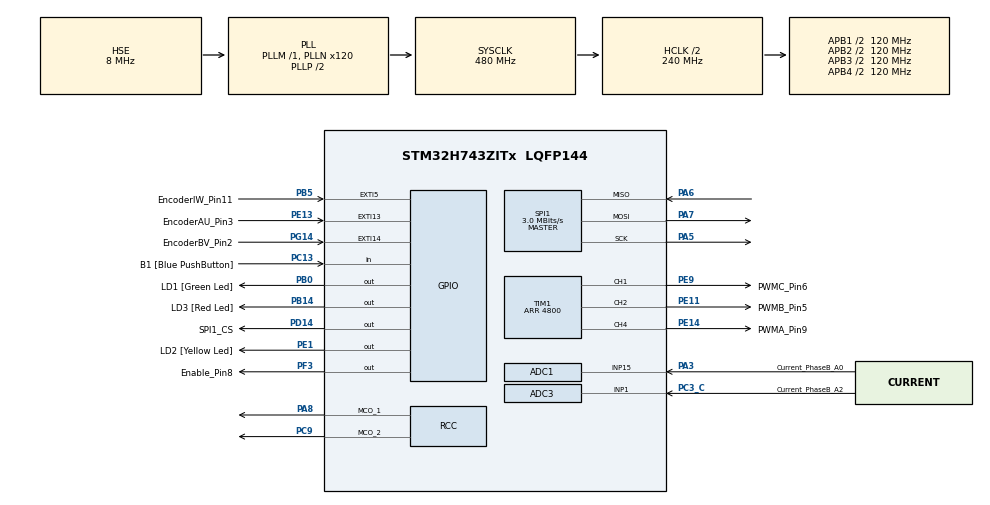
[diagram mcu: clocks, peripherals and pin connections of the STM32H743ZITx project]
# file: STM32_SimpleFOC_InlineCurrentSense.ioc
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ADC1.Channel-0\#ChannelRegularConversion=ADC_CHANNEL_15
ADC1.ContinuousConvMode=ENABLE
ADC1.ExternalTrigConv=ADC_SOFTWARE_START
ADC1.NbrOfConversion=1
ADC1.NbrOfConversionFlag=1
ADC1.OffsetNumber-0\#ChannelRegularConversion=ADC_OFFSET_NONE
ADC1.OffsetSignedSaturation-0\#ChannelRegularConversion=DISABLE
ADC1.Overrun=ADC_OVR_DATA_OVERWRITTEN
ADC1.Rank-0\#ChannelRegularConversion=1
ADC1.SamplingTime-0\#ChannelRegularConversion=ADC_SAMPLETIME_16CYCLES_5
ADC1.master=1
ADC3.Channel-0\#ChannelRegularConversion=ADC_CHANNEL_1
ADC3.ContinuousConvMode=ENABLE
ADC3.ExternalTrigConv=ADC_SOFTWARE_START
ADC3.NbrOfConversion=1
ADC3.NbrOfConversionFlag=1
ADC3.OffsetNumber-0\#ChannelRegularConversion=ADC_OFFSET_NONE
ADC3.OffsetSignedSaturation-0\#ChannelRegularConversion=DISABLE
ADC3.Overrun=ADC_OVR_DATA_OVERWRITTEN
ADC3.Rank-0\#ChannelRegularConversion=1
ADC3.SamplingTime-0\#ChannelRegularConversion=ADC_SAMPLETIME_16CYCLES_5
Mcu.Family=STM32H7
Mcu.Name=STM32H743ZITx
Mcu.Package=LQFP144
NVIC.EXTI15_10_IRQn=true\:0\:0\:false\:false\:true\:true\:true
NVIC.EXTI9_5_IRQn=true\:0\:0\:false\:false\:true\:true\:true
NVIC.PriorityGroup=NVIC_PRIORITYGROUP_4
NVIC.SPI1_IRQn=true\:0\:0\:false\:false\:true\:true\:true
NVIC.TIM1_UP_IRQn=true\:0\:0\:false\:false\:true\:true\:true
NVIC.TIM2_IRQn=true\:0\:0\:false\:false\:true\:true\:true
PA3.GPIO_Label=Current_PhaseB_A0
PA3.Signal=ADCx_INP15
PA5.GPIO_PuPd=GPIO_PULLDOWN
PA5.GPIO_Speed=GPIO_SPEED_FREQ_VERY_HIGH
PA5.Mode=Full_Duplex_Master
PA5.Signal=SPI1_SCK
PA6.GPIO_PuPd=GPIO_PULLUP
PA6.GPIO_Speed=GPIO_SPEED_FREQ_VERY_HIGH
PA6.Mode=Full_Duplex_Master
PA6.Signal=SPI1_MISO
PA7.GPIO_PuPd=GPIO_PULLUP
PA7.GPIO_Speed=GPIO_SPEED_FREQ_VERY_HIGH
PA7.Mode=Full_Duplex_Master
PA7.Signal=SPI1_MOSI
PA8.GPIO_Speed=GPIO_SPEED_FREQ_VERY_HIGH
PA8.Mode=Clock-out-1
PA8.Signal=RCC_MCO_1
PB0.GPIO_Label=LD1 [Green Led]
PB0.GPIO_Speed=GPIO_SPEED_FREQ_HIGH
PB0.Signal=GPIO_Output
PB14.GPIO_Label=LD3 [Red Led]
PB14.Signal=GPIO_Output
PB5.GPIO_Label=EncoderIW_Pin11
PB5.GPIO_ModeDefaultEXTI=GPIO_MODE_IT_RISING_FALLING
PB5.Signal=GPXTI5
PC13.GPIO_Label=B1 [Blue PushButton]
PC13.Signal=GPIO_Input
PC14-OSC32_IN\ (OSC32_IN).Mode=LSE-External-Clock-Source
PC14-OSC32_IN\ (OSC32_IN).Signal=RCC_OSC32_IN
PC15-OSC32_OUT\ (OSC32_OUT).Signal=RCC_OSC32_OUT
PC3_C.GPIO_Label=Current_PhaseB_A2
PC3_C.Mode=IN1-Single-Ended
PC3_C.Signal=ADC3_INP1
PC9.GPIO_Speed=GPIO_SPEED_FREQ_VERY_HIGH
PC9.Mode=Clock-out-2
PC9.Signal=RCC_MCO_2
PD14.GPIO_Label=SPI1_CS
PD14.GPIO_Speed=GPIO_SPEED_FREQ_VERY_HIGH
PD14.PinState=GPIO_PIN_SET
PD14.Signal=GPIO_Output
PE1.GPIO_Label=LD2 [Yellow Led]
PE1.Signal=GPIO_Output
PE11.GPIO_Label=PWMB_Pin5
PE11.Signal=S_TIM1_CH2
PE13.GPIO_Label=EncoderAU_Pin3
PE13.GPIO_ModeDefaultEXTI=GPIO_MODE_IT_RISING_FALLING
PE13.Signal=GPXTI13
PE14.GPIO_Label=PWMA_Pin9
PE14.Signal=S_TIM1_CH4
PE9.GPIO_Label=PWMC_Pin6
PE9.GPIO_Speed=GPIO_SPEED_FREQ_LOW
PE9.Signal=S_TIM1_CH1
PF3.GPIO_Label=Enable_Pin8
PF3.Signal=GPIO_Output
PG14.GPIO_Label=EncoderBV_Pin2
PG14.GPIO_ModeDefaultEXTI=GPIO_MODE_IT_RISING_FALLING
PG14.Signal=GPXTI14
PH0-OSC_IN\ (PH0).Mode=HSE-External-Clock-Source
PH0-OSC_IN\ (PH0).Signal=RCC_OSC_IN
ProjectManager.HeapSize=0x200
ProjectManager.StackSize=0x400
ProjectManager.TargetToolchain=STM32CubeIDE
RCC.ADCFreq_Value=150000000
RCC.APB1Freq_Value=120000000
RCC.APB2Freq_Value=120000000
RCC.APB3Freq_Value=120000000
RCC.APB4Freq_Value=120000000
RCC.CortexFreq_Value=480000000
RCC.D1PPRE=RCC_APB3_DIV2
RCC.D2PPRE1=RCC_APB1_DIV2
RCC.D2PPRE2=RCC_APB2_DIV2
RCC.D3PPRE=RCC_APB4_DIV2
RCC.DIVM1=1
RCC.DIVM2=1
RCC.DIVN1=120
RCC.DIVN2=18
RCC.DIVP2=1
RCC.DIVQ1=20
RCC.HCLKFreq_Value=240000000
RCC.HPRE=RCC_HCLK_DIV2
RCC.HSE_VALUE=8000000
RCC.PLL2FRACN=6144
RCC.PLL3FRACN=0
RCC.PLLFRACN=0
RCC.PLLSourceVirtual=RCC_PLLSOURCE_HSE
RCC.RCC_MCO1Source=RCC_MCO1SOURCE_HSE
RCC.RCC_MCODiv2=RCC_MCODIV_15
RCC.SYSCLKFreq_VALUE=480000000
RCC.SYSCLKSource=RCC_SYSCLKSOURCE_PLLCLK
RCC.USBFreq_Value=48000000
SH.ADCx_INP15.0=ADC1_INP15,IN15-Single-Ended
SH.S_TIM1_CH1.0=TIM1_CH1,PWM Generation1 CH1
SH.S_TIM1_CH2.0=TIM1_CH2,PWM Generation2 CH2
SH.S_TIM1_CH4.0=TIM1_CH4,PWM Generation4 CH4
SPI1.BaudRatePrescaler=SPI_BAUDRATEPRESCALER_16
SPI1.CLKPhase=SPI_PHASE_1EDGE
SPI1.CLKPolarity=SPI_POLARITY_LOW
SPI1.CalculateBaudRate=3.0 MBits/s
SPI1.DataSize=SPI_DATASIZE_16BIT
SPI1.Direction=SPI_DIRECTION_2LINES
SPI1.Mode=SPI_MODE_MASTER
SPI1.NSSPMode=SPI_NSS_PULSE_DISABLE
SPI1.RxCRCInitializationPattern=SPI_CRC_INITIALIZATION_ALL_ONE_PATTERN
SPI1.TxCRCInitializationPattern=SPI_CRC_INITIALIZATION_ALL_ONE_PATTERN
SPI1.VirtualType=VM_MASTER
TIM1.Channel-PWM\ Generation1\ CH1=TIM_CHANNEL_1
TIM1.Channel-PWM\ Generation2\ CH2=TIM_CHANNEL_2
TIM1.Channel-PWM\ Generation4\ CH4=TIM_CHANNEL_4
TIM1.CounterMode=TIM_COUNTERMODE_CENTERALIGNED3
TIM1.OCMode_PWM-PWM\ Generation1\ CH1=TIM_OCMODE_PWM2
TIM1.OCMode_PWM-PWM\ Generation2\ CH2=TIM_OCMODE_PWM2
TIM1.OCMode_PWM-PWM\ Generation4\ CH4=TIM_OCMODE_PWM2
TIM1.Period=4800
TIM1.TIM_MasterOutputTrigger=TIM_TRGO_RESET
TIM2.AutoReloadPreload=TIM_AUTORELOAD_PRELOAD_DISABLE
TIM2.ClockDivision=TIM_CLOCKDIVISION_DIV1
TIM2.Period=\ 4294967295
TIM2.Prescaler=120-1
VP_TIM2_VS_ClockSourceINT.Mode=Internal
board=NUCLEO-H743ZI2

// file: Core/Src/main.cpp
/* USER CODE BEGIN Header */
/**
  ******************************************************************************
  * @file           : main.c
  * @brief          : Main program body
  ******************************************************************************
  * @attention
  *
  * <h2><center>&copy; Copyright (c) 2021 STMicroelectronics.
  * All rights reserved.</center></h2>
  *
  * This software component is licensed by ST under BSD 3-Clause license,
  * the "License"; You may not use this file except in compliance with the
  * License. You may obtain a copy of the License at:
  *                        opensource.org/licenses/BSD-3-Clause
  *
  ******************************************************************************
  */
/* USER CODE END Header */
#include "main.h"
#include "adc.h"
#include "tim.h"
#include "gpio.h"
#include "spi.h"

/* USER CODE BEGIN Includes */
#include "SimpleFOC.hpp"
/* USER CODE END Includes */

/* USER CODE BEGIN PD */
#define ROLE_MASTER  // when defined MASTER clock settings are programmed, else, SLAVE clock settings are programmed
#define SENSOR_MAGNETIC //position sensor is MAGNETIC (AS5048A)
//#define SENSOR_ENCODER //position sensor is ENCODER
/* USER CODE END PD */

/* USER CODE BEGIN PM */
#define TEST_SPI 0 //SPI cable super flaky - need to run this test sometimes
/* USER CODE END PM */

/* USER CODE BEGIN PV */
BLDCMotor motor = BLDCMotor(7);//,0.039);//,0.039); //(pp,phase_resistance)
BLDCDriver3PWM driver = BLDCDriver3PWM(5, 9, 6, 8);
#ifdef SENSOR_ENCODER
	Encoder sensor = Encoder(2, 3, 2048, 11); //these pins, and values are actually hardcoded
#else //SENSOR_MAGNETIC
	//Magnetic sensor class supports only AS5048A at the moment: https://media.digikey.com/pdf/Data%20Sheets/Austriamicrosystems%20PDFs/AS5048A,B.pdf
	MagneticSensorSPI sensor = MagneticSensorSPI(); //CS = D10 (PD14 on STM32H743), resolution bits = 14, angle register address = 0x3fff); //these pins are all hardcoded
#endif

InlineCurrentSense current_sense = InlineCurrentSense(0.01, 50.0, phaseA, phaseB); //pins are hardcoded
/* USER CODE END PV */

void SystemClock_Config(void);
/* USER CODE BEGIN PFP */
PhaseCurrent_s currents;
float current_magnitude = 0;
/* USER CODE END PFP */

/* USER CODE BEGIN 0 */
// function setting the pwm duty cycle to the hardware
// - BLDC motor - 3PWM setting
//- hardware specific
void _writeDutyCycle3PWM(float dc_a,  float dc_b, float dc_c, int pinA, int pinB, int pinC){
	int pwm_range = htim1.Instance->ARR;
	htim1.Instance->CCR1 = (int)(dc_a * pwm_range);
	htim1.Instance->CCR2 = (int)(dc_c * pwm_range);
	htim1.Instance->CCR4 = (int)(dc_b * pwm_range);
}

// function reading an ADC value and returning the read voltage
float _readADCVoltage_pinA(void){
	int raw_reading = HAL_ADC_GetValue(&hadc1); //assigned to a variable prior to return for debugging purposes
	return raw_reading;
}

float _readADCVoltage_pinB(void) {
	int raw_reading = HAL_ADC_GetValue(&hadc3); //assigned to a variable prior to return for debugging purposes
	return raw_reading;
}

int _calibrate_phaseA(void) {
	int sum = 0;
	//calibration process, the calculated calibration value (offset) should be automatically applied
	//during subsequent conversions
	HAL_ADCEx_Calibration_Start(&hadc1, ADC_CALIB_OFFSET_LINEARITY, ADC_SINGLE_ENDED);
	for (int i = 0; i < 100; i++) {
		sum += HAL_ADC_GetValue(&hadc1);
	}
	return (float)(sum/100.0);
}

int _calibrate_phaseB(void) {
	int sum = 0;
	//calibration process, the calculated calibration value (offset) should be automatically applied
	//during subsequent conversions
	HAL_ADCEx_Calibration_Start(&hadc3, ADC_CALIB_OFFSET_LINEARITY, ADC_SINGLE_ENDED);
	for (int i = 0; i < 100; i++) {
		sum += HAL_ADC_GetValue(&hadc3);
	}
	return (float)(sum/100);
}

uint16_t _SPI_read(uint16_t read_command) {
	uint8_t register_value[2] = {0x00, 0x00};
	HAL_GPIO_WritePin(SPI1_CS_GPIO_Port, SPI1_CS_Pin, GPIO_PIN_RESET);
	HAL_SPI_TransmitReceive(&hspi1, (uint8_t*)&read_command, &register_value[0], 1, HAL_MAX_DELAY);
	HAL_GPIO_WritePin(SPI1_CS_GPIO_Port, SPI1_CS_Pin, GPIO_PIN_SET);
	return ((register_value[1] << 8) | register_value[0]);
}

/* USER CODE END 0 */

int loopIdx = 100000;
float time_loop;
bool initialisation_complete = false;
bool run_foc_loop = false;
int inc_mov_loop = 0;

float copy_target = 0;
float lk_shaft_velocity;
float lk_shaft_angle;
float lk_current_sp;

float copy_PID_Iq_P = 0.5;
float copy_PID_Iq_I = 0.1;
float copy_PID_Iq_D = 0.01;
float copy_PID_Iq_ramp = 50;
float copy_PID_Iq_limit = 2;
float copy_PID_Iq_Tf = 0.01;

float copy_PID_Id_P = 0.5;
float copy_PID_Id_I = 0.1;
float copy_PID_Id_D = 0.01;
float copy_PID_Id_ramp = 50;
float copy_PID_Id_limit = 1;
float copy_PID_Id_Tf = 0.01;

float copy_PID_velocity_P = 0;// 0.1;//0.05;
float copy_PID_velocity_I = 0;//0.5;//0.5;
float copy_PID_velocity_D = 0;// 0.001;//0;
float copy_PID_velocity_ramp = 0;// 5000;//1000;
float copy_PID_velocity_limit = 0;// 24;//2;
float copy_PID_velocity_Tf = 0;// 0;//0.01;//0;

float copy_PID_angle_P = 0;// 10;//0.5;
float copy_PID_angle_I = 0;// 1;//0;
float copy_PID_angle_D = 0;// 0;//0;
float copy_PID_angle_ramp = 0;// 100;//1e9;
float copy_PID_angle_limit = 0;// 10;//20;
float copy_PID_angle_Tf = 0;// 0;//0.001;

int main(void)
{

  /* MCU Configuration--------------------------------------------------------*/

  /* Reset of all peripherals, Initializes the Flash interface and the Systick. */
    HAL_Init();

  /* Configure the system clock */
  SystemClock_Config();

  /* Initialize all configured peripherals */
  MX_GPIO_Init();
  MX_ADC1_Init();
  MX_ADC3_Init();
  MX_TIM1_Init();
  MX_TIM2_Init();
  MX_SPI1_Init(); //maybe need to move this call into the magneticsensorSPI class - init

  /* USER CODE BEGIN 2 */
  HAL_TIM_Base_Start_IT(&htim1); //25kHz timer - need interrupt to trigger FOC loop at this frequency
  HAL_TIM_Base_Start_IT(&htim2); //timer set to 1MHz used by _micros(), will overflow every 4295 seconds - should do something about this overflow... TODO

  HAL_TIM_PWM_Start(&htim1, TIM_CHANNEL_1);
  HAL_TIM_PWM_Start(&htim1, TIM_CHANNEL_2);
  HAL_TIM_PWM_Start(&htim1, TIM_CHANNEL_4);

  HAL_ADC_Start(&hadc1); //ADC set to run in continuous conversion mode - hence we start conversions here
  HAL_ADC_Start(&hadc3); //ADC set to run in continuous conversion mode - hence we start conversions here

//  //closed loop velocity example:
//#if SENSOR == ENCODER
//  encoder.init();
//  //link the motor to the sensor:
//  motor.linkSensor(&encoder);
//#elif SENSOR == MAGNETIC
//  sensor.init();
//  motor.linkSensor(&sensor);
//#endif
sensor.init();

motor.linkSensor(&sensor);
 //driver config:
 driver.voltage_power_supply = 10;//24;
 driver.init();
 //link the motor and the driver:
 motor.linkDriver(&driver);
 //aligning the voltage [V]
 motor.voltage_sensor_align = 2;
 //index search velocity [rad/s]
 motor.velocity_index_search = 0.5; //needs to be low otherwise index search fails. Tested to 10rad/s - doesn't fail anymore.
 //set motion control loop to be used
 motor.foc_modulation = FOCModulationType::SpaceVectorPWM;//SpaceVectorPWM;//SinePWM;
 motor.controller = MotionControlType::velocity;//angle;//velocity;//torque;
 motor.torque_controller = TorqueControlType::foc_current;//voltage;//foc_current;//dc_current;//voltage;
//  motor.controller = MotionControlType::torque;

 //current sense init and linking
 current_sense.gain_b *=-1;
 // skip alignment
 current_sense.skip_align = true; //true;

 current_sense.init();
 motor.linkCurrentSense(&current_sense);

 motor.anti_cogging = false;

 //initialise motor
 motor.init();
 //align sensor and start FOC
 motor.initFOC();

 _delay(100);

 //controller config:
 //see default parameters in defaults.h
 motor.PID_current_q.P = copy_PID_Iq_P;
 motor.PID_current_q.I = copy_PID_Iq_I;
 motor.PID_current_q.D = copy_PID_Iq_D;
 motor.PID_current_q.output_ramp = copy_PID_Iq_ramp;
 motor.PID_current_q.limit = copy_PID_Iq_limit;
 motor.LPF_current_q.Tf = copy_PID_Iq_Tf;

 motor.PID_current_d.P = copy_PID_Id_P;
 motor.PID_current_d.I = copy_PID_Id_I;
 motor.PID_current_d.D = copy_PID_Id_D;
 motor.PID_current_d.output_ramp = copy_PID_Id_ramp;
 motor.PID_current_d.limit = copy_PID_Id_limit;
 motor.LPF_current_d.Tf = copy_PID_Id_Tf;

 motor.PID_velocity.P = copy_PID_velocity_P;
 motor.PID_velocity.I = copy_PID_velocity_I;
 motor.PID_velocity.D = copy_PID_velocity_D;
 motor.PID_velocity.output_ramp = copy_PID_velocity_ramp;
 motor.PID_velocity.limit = copy_PID_velocity_limit;
 motor.LPF_velocity.Tf = copy_PID_velocity_Tf;

 motor.P_angle.P = copy_PID_angle_P;
 motor.P_angle.I = copy_PID_angle_I;
 motor.P_angle.D = copy_PID_angle_D;
 motor.P_angle.output_ramp = copy_PID_angle_ramp;
 motor.P_angle.limit = copy_PID_angle_limit;
 motor.LPF_angle.Tf = copy_PID_angle_Tf;
  /* USER CODE END 2 */

  /* Infinite loop */
  /* USER CODE BEGIN WHILE */
 motor.target = 0;//2;//0.6;//3;//0.5;// 0.25;
// motor.controller = MotionControlType::velocity;//angle;//velocity;//torque;
// float targets[] = {0, 1, 2, 3, 4, 5, 6, 5, 4, 3, 2, 1};
 //float targets[] = {2.269, 0.8727}; //angle mode
// float targets[] = {4, 8}; //velocity mode
// int i = 0;
 int idx = 0;

 initialisation_complete = true;

if (TEST_SPI) { //connections are currently super flaky - need to run this sometimes
	uint8_t SPI_Read[4] = {0xFF,0xFF,0x00,0x00};
	uint16_t buf;
	float buf_angle = 0;
	while (1) {
		_delay(1);
	    HAL_GPIO_WritePin(SPI1_CS_GPIO_Port, SPI1_CS_Pin, GPIO_PIN_RESET);
	    HAL_SPI_TransmitReceive(&hspi1, &SPI_Read[0], &SPI_Read[2], 1, HAL_MAX_DELAY);
	    HAL_GPIO_WritePin(SPI1_CS_GPIO_Port, SPI1_CS_Pin, GPIO_PIN_SET);
	    buf = ((SPI_Read[3]<<8)|SPI_Read[2])&AS5048A_RESULT_MASK;
	    buf_angle = ((float)buf)/AS5048A_CPR * 2 * _PI;
	    buf_angle = buf_angle; //dummy assignment to avoid -Werror about unused variable
	}
}

 while (1)
 {
//	 //read TIM2->CH1 values:
//	 unsigned int test = TIM2->CNT;
//	    /* USER CODE END WHILE */
//
//	    /* USER CODE BEGIN 3 */
//	    currents = current_sense.getPhaseCurrents();
//	    current_magnitude = current_sense.getDCCurrent();
//
//	  //angular set point example for PID tuning
//		GPIOB -> ODR |= GPIO_PIN_0;
//	 time_prev = _micros();

	 lk_shaft_velocity = motor.shaft_velocity;
	 lk_shaft_angle = motor.shaft_angle;
	 lk_current_sp = motor.current_sp;

//	 motor.PID_current_q.P = copy_PID_Iq_P;
//	 motor.PID_current_q.I = copy_PID_Iq_I;
//	 motor.PID_current_q.D = copy_PID_Iq_D;
//	 motor.PID_current_q.output_ramp = copy_PID_Iq_ramp;
//	 motor.PID_current_q.limit = copy_PID_Iq_limit;
//	 motor.LPF_current_q.Tf = copy_PID_Iq_Tf;
//
//	 motor.PID_current_d.P = copy_PID_Id_P;
//	 motor.PID_current_d.I = copy_PID_Id_I;
//	 motor.PID_current_d.D = copy_PID_Id_D;
//	 motor.PID_current_d.output_ramp = copy_PID_Id_ramp;
//	 motor.PID_current_d.limit = copy_PID_Id_limit;
//	 motor.LPF_current_d.Tf = copy_PID_Id_Tf;
//
//	 motor.PID_velocity.P = copy_PID_velocity_P;
//	 motor.PID_velocity.I = copy_PID_velocity_I;
//	 motor.PID_velocity.D = copy_PID_velocity_D;
//	 motor.PID_velocity.output_ramp = copy_PID_velocity_ramp;
//	 motor.PID_velocity.limit = copy_PID_velocity_limit;
//	 motor.LPF_velocity.Tf = copy_PID_velocity_Tf;
//
//	 motor.P_angle.P = copy_PID_angle_P;
//	 motor.P_angle.I = copy_PID_angle_I;
//	 motor.P_angle.D = copy_PID_angle_D;
//	 motor.P_angle.output_ramp = copy_PID_angle_ramp;
//	 motor.P_angle.limit = copy_PID_angle_limit;
//	 motor.LPF_angle.Tf = copy_PID_angle_Tf;

	 if (run_foc_loop) {
	  motor.loopFOC();
	  //HAL_GPIO_WritePin(LD1_GPIO_Port, LD1_Pin, GPIO_PIN_RESET);
	  run_foc_loop = false;
	}
//	  time_loop = _micros() - time_prev;
//		GPIOB -> ODR &= ~GPIO_PIN_0;

//	  if (idx % 1000 == 0) { //velocity mode set to 1000
//		  motor.move();
//		// idx = 1;
//	  }

	  if (inc_mov_loop >= 2000) {
		  motor.move();
		  inc_mov_loop = 0;
		 // HAL_GPIO_TogglePin(LD1_GPIO_Port, LD1_Pin);
		  //HAL_GPIO_WritePin(LD1_GPIO_Port, LD1_Pin, GPIO_PIN_RESET);
	  }
	// motor.target = copy_target;

//	  if (idx % loopIdx == 0) {
//		 // motor.target += targets[i];
//		 // motor.copy_target += targets[i];
//		  motor.target += targets[i]; //when in 'angle' mode
//		  //motor.target = targets[i]; //when in 'velocity' mode
//		  copy_target = motor.target;
//
//		  i++;
//	  }
//	  if (i >= 2) {
//		  i = 0;
//	  }
	  idx++;
 }

 /* USER CODE END 3 */
}

#ifdef ROLE_MASTER
/*
  * MASTER SystemClock_Config
  */
void SystemClock_Config(void)
{
  RCC_OscInitTypeDef RCC_OscInitStruct = {0};
  RCC_ClkInitTypeDef RCC_ClkInitStruct = {0};
  RCC_PeriphCLKInitTypeDef PeriphClkInitStruct = {0};

  /** Supply configuration update enable
  */
  HAL_PWREx_ConfigSupply(PWR_LDO_SUPPLY);
  /** Configure the main internal regulator output voltage
  */
  __HAL_PWR_VOLTAGESCALING_CONFIG(PWR_REGULATOR_VOLTAGE_SCALE0);

  while(!__HAL_PWR_GET_FLAG(PWR_FLAG_VOSRDY)) {}
  /** Macro to configure the PLL clock source
  */
  __HAL_RCC_PLL_PLLSOURCE_CONFIG(RCC_PLLSOURCE_HSE);
  /** Initializes the RCC Oscillators according to the specified parameters
  * in the RCC_OscInitTypeDef structure.
  */
  RCC_OscInitStruct.OscillatorType = RCC_OSCILLATORTYPE_HSE;
  RCC_OscInitStruct.HSEState = RCC_HSE_BYPASS;
  RCC_OscInitStruct.PLL.PLLState = RCC_PLL_ON;
  RCC_OscInitStruct.PLL.PLLSource = RCC_PLLSOURCE_HSE;
  RCC_OscInitStruct.PLL.PLLM = 1;
  RCC_OscInitStruct.PLL.PLLN = 120;
  RCC_OscInitStruct.PLL.PLLP = 2;
  RCC_OscInitStruct.PLL.PLLQ = 20;
  RCC_OscInitStruct.PLL.PLLR = 2;
  RCC_OscInitStruct.PLL.PLLRGE = RCC_PLL1VCIRANGE_3;
  RCC_OscInitStruct.PLL.PLLVCOSEL = RCC_PLL1VCOWIDE;
  RCC_OscInitStruct.PLL.PLLFRACN = 0;
  if (HAL_RCC_OscConfig(&RCC_OscInitStruct) != HAL_OK)
  {
    Error_Handler();
  }
  /** Initializes the CPU, AHB and APB buses clocks
  */
  RCC_ClkInitStruct.ClockType = RCC_CLOCKTYPE_HCLK|RCC_CLOCKTYPE_SYSCLK
                              |RCC_CLOCKTYPE_PCLK1|RCC_CLOCKTYPE_PCLK2
                              |RCC_CLOCKTYPE_D3PCLK1|RCC_CLOCKTYPE_D1PCLK1;
  RCC_ClkInitStruct.SYSCLKSource = RCC_SYSCLKSOURCE_PLLCLK;
  RCC_ClkInitStruct.SYSCLKDivider = RCC_SYSCLK_DIV1;
  RCC_ClkInitStruct.AHBCLKDivider = RCC_HCLK_DIV2;
  RCC_ClkInitStruct.APB3CLKDivider = RCC_APB3_DIV2;
  RCC_ClkInitStruct.APB1CLKDivider = RCC_APB1_DIV2;
  RCC_ClkInitStruct.APB2CLKDivider = RCC_APB2_DIV2;
  RCC_ClkInitStruct.APB4CLKDivider = RCC_APB4_DIV2;

  if (HAL_RCC_ClockConfig(&RCC_ClkInitStruct, FLASH_LATENCY_4) != HAL_OK)
  {
    Error_Handler();
  }
  PeriphClkInitStruct.PeriphClockSelection = RCC_PERIPHCLK_ADC;
  PeriphClkInitStruct.PLL2.PLL2M = 1;
  PeriphClkInitStruct.PLL2.PLL2N = 18;
  PeriphClkInitStruct.PLL2.PLL2P = 1;
  PeriphClkInitStruct.PLL2.PLL2Q = 2;
  PeriphClkInitStruct.PLL2.PLL2R = 2;
  PeriphClkInitStruct.PLL2.PLL2RGE = RCC_PLL2VCIRANGE_3;
  PeriphClkInitStruct.PLL2.PLL2VCOSEL = RCC_PLL2VCOMEDIUM;
  PeriphClkInitStruct.PLL2.PLL2FRACN = 6144;
  PeriphClkInitStruct.Spi123ClockSelection = RCC_SPI123CLKSOURCE_PLL;
  PeriphClkInitStruct.AdcClockSelection = RCC_ADCCLKSOURCE_PLL2;
  if (HAL_RCCEx_PeriphCLKConfig(&PeriphClkInitStruct) != HAL_OK)
  {
    Error_Handler();
  }
  HAL_RCC_MCOConfig(RCC_MCO1, RCC_MCO1SOURCE_HSE, RCC_MCODIV_1);
  HAL_RCC_MCOConfig(RCC_MCO2, RCC_MCO2SOURCE_SYSCLK, RCC_MCODIV_15);
}
#else
void SystemClock_Config(void)
{
  RCC_OscInitTypeDef RCC_OscInitStruct = {0};
  RCC_ClkInitTypeDef RCC_ClkInitStruct = {0};
  RCC_PeriphCLKInitTypeDef PeriphClkInitStruct = {0};

  /** Supply configuration update enable
  */
  HAL_PWREx_ConfigSupply(PWR_LDO_SUPPLY);
  /** Configure the main internal regulator output voltage
  */
  __HAL_PWR_VOLTAGESCALING_CONFIG(PWR_REGULATOR_VOLTAGE_SCALE0);

  while(!__HAL_PWR_GET_FLAG(PWR_FLAG_VOSRDY)) {}
  /** Macro to configure the PLL clock source
  */
  __HAL_RCC_PLL_PLLSOURCE_CONFIG(RCC_PLLSOURCE_HSE);
  /** Initializes the RCC Oscillators according to the specified parameters
  * in the RCC_OscInitTypeDef structure.
  */
  RCC_OscInitStruct.OscillatorType = RCC_OSCILLATORTYPE_HSE;
  RCC_OscInitStruct.HSEState = RCC_HSE_BYPASS;
  RCC_OscInitStruct.PLL.PLLState = RCC_PLL_ON;
  RCC_OscInitStruct.PLL.PLLSource = RCC_PLLSOURCE_HSE;
  RCC_OscInitStruct.PLL.PLLM = 1;
  RCC_OscInitStruct.PLL.PLLN = 120;
  RCC_OscInitStruct.PLL.PLLP = 2;
  RCC_OscInitStruct.PLL.PLLQ = 20;
  RCC_OscInitStruct.PLL.PLLR = 2;
  RCC_OscInitStruct.PLL.PLLRGE = RCC_PLL1VCIRANGE_3;
  RCC_OscInitStruct.PLL.PLLVCOSEL = RCC_PLL1VCOWIDE;
  RCC_OscInitStruct.PLL.PLLFRACN = 0;
  if (HAL_RCC_OscConfig(&RCC_OscInitStruct) != HAL_OK)
  {
    Error_Handler();
  }
  /** Initializes the CPU, AHB and APB buses clocks
  */
  RCC_ClkInitStruct.ClockType = RCC_CLOCKTYPE_HCLK|RCC_CLOCKTYPE_SYSCLK
                              |RCC_CLOCKTYPE_PCLK1|RCC_CLOCKTYPE_PCLK2
                              |RCC_CLOCKTYPE_D3PCLK1|RCC_CLOCKTYPE_D1PCLK1;
  RCC_ClkInitStruct.SYSCLKSource = RCC_SYSCLKSOURCE_PLLCLK;
  RCC_ClkInitStruct.SYSCLKDivider = RCC_SYSCLK_DIV1;
  RCC_ClkInitStruct.AHBCLKDivider = RCC_HCLK_DIV2;
  RCC_ClkInitStruct.APB3CLKDivider = RCC_APB3_DIV2;
  RCC_ClkInitStruct.APB1CLKDivider = RCC_APB1_DIV2;
  RCC_ClkInitStruct.APB2CLKDivider = RCC_APB2_DIV2;
  RCC_ClkInitStruct.APB4CLKDivider = RCC_APB4_DIV2;

  if (HAL_RCC_ClockConfig(&RCC_ClkInitStruct, FLASH_LATENCY_4) != HAL_OK)
  {
    Error_Handler();
  }
  PeriphClkInitStruct.PeriphClockSelection = RCC_PERIPHCLK_ADC;
  PeriphClkInitStruct.PLL2.PLL2M = 1;
  PeriphClkInitStruct.PLL2.PLL2N = 18;
  PeriphClkInitStruct.PLL2.PLL2P = 1;
  PeriphClkInitStruct.PLL2.PLL2Q = 2;
  PeriphClkInitStruct.PLL2.PLL2R = 2;
  PeriphClkInitStruct.PLL2.PLL2RGE = RCC_PLL2VCIRANGE_3;
  PeriphClkInitStruct.PLL2.PLL2VCOSEL = RCC_PLL2VCOMEDIUM;
  PeriphClkInitStruct.PLL2.PLL2FRACN = 6144;
  PeriphClkInitStruct.Spi123ClockSelection = RCC_SPI123CLKSOURCE_PLL;
  PeriphClkInitStruct.AdcClockSelection = RCC_ADCCLKSOURCE_PLL2;
  if (HAL_RCCEx_PeriphCLKConfig(&PeriphClkInitStruct) != HAL_OK)
  {
    Error_Handler();
  }
  HAL_RCC_MCOConfig(RCC_MCO1, RCC_MCO1SOURCE_HSE, RCC_MCODIV_1);
}
#endif

/* USER CODE BEGIN 4 */
#ifdef SENSOR_ENCODER
void HAL_GPIO_EXTI_Callback(uint16_t GPIO_Pin) {
	if (GPIO_Pin == EncoderAU_Pin3_Pin) {
		encoder.handleA();
	}
	if (GPIO_Pin == EncoderBV_Pin2_Pin) {
		encoder.handleB();
	}
	if (GPIO_Pin == EncoderIW_Pin11_Pin) {
		encoder.handleIndex();
	}
}
#endif

// Callback: timer2 has rolled over. Occurs every 4295 seconds.
void HAL_TIM_PeriodElapsedCallback(TIM_HandleTypeDef *htim) {
	//HAL_GPIO_WritePin(LD1_GPIO_Port, LD1_Pin, GPIO_PIN_SET);
	if (htim == &htim1) {
		//HAL_GPIO_WritePin(LD1_GPIO_Port, LD1_Pin, GPIO_PIN_SET);
		//HAL_GPIO_TogglePin(LD1_GPIO_Port, LD1_Pin); //verified that this should toggle the pin at 25kHz
		if (initialisation_complete) {
			//now run FOC loop:
			//HAL_GPIO_TogglePin(LD1_GPIO_Port, LD1_Pin);
//			HAL_GPIO_WritePin(LD1_GPIO_Port, LD1_Pin, GPIO_PIN_SET); //debug for timing the FOC loop
			run_foc_loop = true; //motor.loopFOC();
			inc_mov_loop++;
			//HAL_GPIO_WritePin(LD1_GPIO_Port, LD1_Pin, GPIO_PIN_RESET); //debug for timing the FOC loop
		}
	}

	if (htim == &htim2) { //when this timer overflows - should do something as lots of calculations will go to shit
//    HAL_GPIO_TogglePin(GPIOB, GPIO_PIN_0);
//		HAL_GPIO_TogglePin(LD1_GPIO_Port, LD1_Pin);
	}

//	if (htim == &htim4) { //encoder should have tracked 2048 increments
//		//  encoder_time = HAL_GetTick();
//		//  encoder_ticks = TIM2->CNT;
//		rotations += 1;
//	}
}
//
//// This is called when SPI transmit is done
//void HAL_SPI_TxCpltCallback (SPI_HandleTypeDef * hspi)
//{
//  // Set CS pin to high
// // HAL_GPIO_WritePin(SPI1_CS_GPIO_Port, SPI1_CS_Pin, GPIO_PIN_SET);
//}
//
//// This is called when SPI receive is done
//void HAL_SPI_RxCpltCallback (SPI_HandleTypeDef * hspi)
//{
//  // Set CS pin to high
//  //HAL_GPIO_WritePin(SPI1_CS_GPIO_Port, SPI1_CS_Pin, GPIO_PIN_SET);
//}

/* USER CODE END 4 */

void Error_Handler(void)
{
  __disable_irq();
  while (1)
  {
  }
}

/************************ (C) COPYRIGHT STMicroelectronics *****END OF FILE****/
